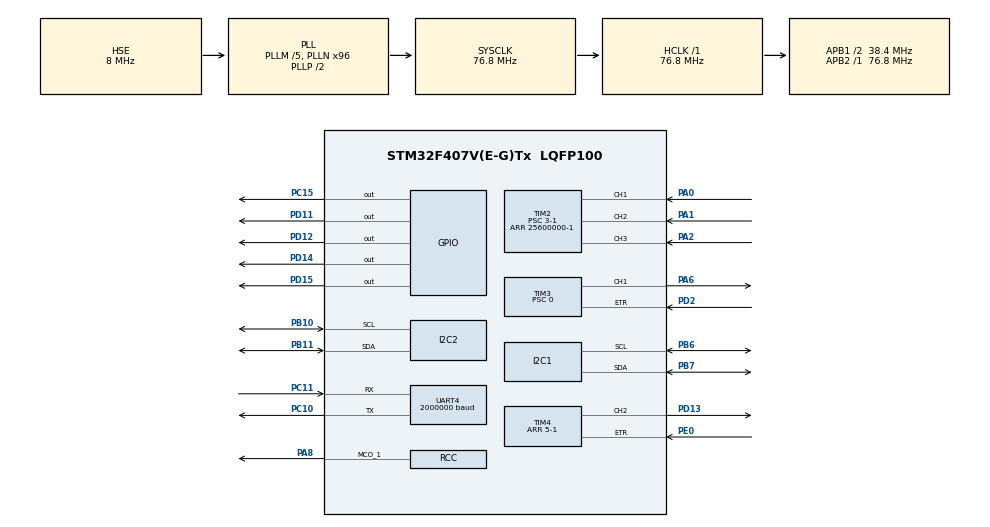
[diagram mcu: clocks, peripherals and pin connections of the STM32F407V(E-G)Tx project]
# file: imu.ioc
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Dma.I2C1_RX.0.Direction=DMA_PERIPH_TO_MEMORY
Dma.I2C1_RX.0.FIFOMode=DMA_FIFOMODE_DISABLE
Dma.I2C1_RX.0.Instance=DMA1_Stream5
Dma.I2C1_RX.0.MemDataAlignment=DMA_MDATAALIGN_BYTE
Dma.I2C1_RX.0.MemInc=DMA_MINC_ENABLE
Dma.I2C1_RX.0.Mode=DMA_NORMAL
Dma.I2C1_RX.0.PeriphDataAlignment=DMA_PDATAALIGN_BYTE
Dma.I2C1_RX.0.PeriphInc=DMA_PINC_DISABLE
Dma.I2C1_RX.0.Priority=DMA_PRIORITY_VERY_HIGH
Dma.I2C2_RX.3.Direction=DMA_PERIPH_TO_MEMORY
Dma.I2C2_RX.3.FIFOMode=DMA_FIFOMODE_DISABLE
Dma.I2C2_RX.3.Instance=DMA1_Stream3
Dma.I2C2_RX.3.MemDataAlignment=DMA_MDATAALIGN_BYTE
Dma.I2C2_RX.3.MemInc=DMA_MINC_ENABLE
Dma.I2C2_RX.3.Mode=DMA_NORMAL
Dma.I2C2_RX.3.PeriphDataAlignment=DMA_PDATAALIGN_BYTE
Dma.I2C2_RX.3.PeriphInc=DMA_PINC_DISABLE
Dma.I2C2_RX.3.Priority=DMA_PRIORITY_LOW
Dma.Request0=I2C1_RX
Dma.Request1=UART4_TX
Dma.Request2=UART4_RX
Dma.Request3=I2C2_RX
Dma.UART4_RX.2.Direction=DMA_PERIPH_TO_MEMORY
Dma.UART4_RX.2.FIFOMode=DMA_FIFOMODE_DISABLE
Dma.UART4_RX.2.Instance=DMA1_Stream2
Dma.UART4_RX.2.MemDataAlignment=DMA_MDATAALIGN_BYTE
Dma.UART4_RX.2.MemInc=DMA_MINC_ENABLE
Dma.UART4_RX.2.Mode=DMA_NORMAL
Dma.UART4_RX.2.PeriphDataAlignment=DMA_PDATAALIGN_BYTE
Dma.UART4_RX.2.PeriphInc=DMA_PINC_DISABLE
Dma.UART4_RX.2.Priority=DMA_PRIORITY_LOW
Dma.UART4_TX.1.Direction=DMA_MEMORY_TO_PERIPH
Dma.UART4_TX.1.FIFOMode=DMA_FIFOMODE_DISABLE
Dma.UART4_TX.1.Instance=DMA1_Stream4
Dma.UART4_TX.1.MemDataAlignment=DMA_MDATAALIGN_BYTE
Dma.UART4_TX.1.MemInc=DMA_MINC_ENABLE
Dma.UART4_TX.1.Mode=DMA_NORMAL
Dma.UART4_TX.1.PeriphDataAlignment=DMA_PDATAALIGN_BYTE
Dma.UART4_TX.1.PeriphInc=DMA_PINC_DISABLE
Dma.UART4_TX.1.Priority=DMA_PRIORITY_LOW
I2C1.DutyCycle=I2C_DUTYCYCLE_16_9
I2C1.I2C_Mode=I2C_Fast
I2C2.DutyCycle=I2C_DUTYCYCLE_16_9
I2C2.I2C_Mode=I2C_Fast
Mcu.Family=STM32F4
Mcu.Name=STM32F407V(E-G)Tx
Mcu.Package=LQFP100
NVIC.DMA1_Stream2_IRQn=true\:5\:0\:true\:false\:true\:false\:true
NVIC.DMA1_Stream3_IRQn=true\:0\:0\:false\:false\:true\:false\:true
NVIC.DMA1_Stream4_IRQn=true\:5\:0\:true\:false\:true\:false\:true
NVIC.DMA1_Stream5_IRQn=true\:5\:0\:true\:false\:true\:false\:true
NVIC.I2C1_EV_IRQn=true\:1\:0\:true\:false\:true\:true\:true
NVIC.PriorityGroup=NVIC_PRIORITYGROUP_4
NVIC.TIM2_IRQn=true\:0\:0\:false\:false\:true\:true\:true
NVIC.UART4_IRQn=true\:5\:0\:true\:false\:true\:true\:true
PA0-WKUP.GPIO_Speed=GPIO_SPEED_FREQ_VERY_HIGH
PA0-WKUP.Signal=S_TIM2_CH1_ETR
PA1.GPIO_Speed=GPIO_SPEED_FREQ_VERY_HIGH
PA1.Signal=S_TIM2_CH2
PA2.Signal=S_TIM2_CH3
PA6.Signal=S_TIM3_CH1
PA8.GPIO_Speed=GPIO_SPEED_FREQ_VERY_HIGH
PA8.Mode=Clock-out-1
PA8.Signal=RCC_MCO_1
PB10.Mode=I2C
PB10.Signal=I2C2_SCL
PB11.Mode=I2C
PB11.Signal=I2C2_SDA
PB6.Mode=I2C
PB6.Signal=I2C1_SCL
PB7.Mode=I2C
PB7.Signal=I2C1_SDA
PC10.Mode=Asynchronous
PC10.Signal=UART4_TX
PC11.Mode=Asynchronous
PC11.Signal=UART4_RX
PC15-OSC32_OUT.GPIO_PuPd=GPIO_NOPULL
PC15-OSC32_OUT.Signal=GPIO_Output
PD11.Signal=GPIO_Output
PD12.Signal=GPIO_Output
PD13.Signal=S_TIM4_CH2
PD14.Signal=GPIO_Output
PD15.PinState=GPIO_PIN_RESET
PD15.Signal=GPIO_Output
PD2.Signal=S_TIM3_ETR
PE0.Signal=S_TIM4_ETR
PH0-OSC_IN.Mode=HSE-External-Oscillator
PH0-OSC_IN.Signal=RCC_OSC_IN
PH1-OSC_OUT.Mode=HSE-External-Oscillator
PH1-OSC_OUT.Signal=RCC_OSC_OUT
ProjectManager.HeapSize=0x200
ProjectManager.StackSize=0x400
ProjectManager.TargetToolchain=STM32CubeIDE
RCC.48MHZClocksFreq_Value=30720000
RCC.AHBFreq_Value=76800000
RCC.APB1CLKDivider=RCC_HCLK_DIV2
RCC.APB1Freq_Value=38400000
RCC.APB1TimFreq_Value=76800000
RCC.APB2Freq_Value=76800000
RCC.APB2TimFreq_Value=76800000
RCC.CortexFreq_Value=76800000
RCC.HCLKFreq_Value=76800000
RCC.HSE_VALUE=8000000
RCC.HSI_VALUE=16000000
RCC.LSE_VALUE=32768
RCC.PLLM=5
RCC.PLLN=96
RCC.PLLQ=5
RCC.PLLSourceVirtual=RCC_PLLSOURCE_HSE
RCC.RCC_MCO1Source=RCC_MCO1SOURCE_PLLCLK
RCC.RCC_MCO2Source=RCC_MCO2SOURCE_HSE
RCC.RCC_MCODiv1=RCC_MCODIV_4
RCC.RCC_RTC_Clock_Source=RCC_RTCCLKSOURCE_HSE_DIV25
RCC.RCC_RTC_Clock_SourceVirtual=RCC_RTCCLKSOURCE_LSE
RCC.RCC_RTC_Clock_Source_FROM_HSE=RCC_RTCCLKSOURCE_HSE_DIV25
RCC.SYSCLKFreq_VALUE=76800000
RCC.SYSCLKSource=RCC_SYSCLKSOURCE_PLLCLK
RCC.VCOOutputFreq_Value=153600000
SH.S_TIM2_CH1_ETR.0=TIM2_CH1,Input_Capture1_from_TI1
SH.S_TIM2_CH2.0=TIM2_CH2,Input_Capture2_from_TI2
SH.S_TIM2_CH3.0=TIM2_CH3,Input_Capture3_from_TI3
SH.S_TIM3_CH1.0=TIM3_CH1,PWM Generation1 CH1
SH.S_TIM3_ETR.0=TIM3_ETR,TriggerSource_ETR
SH.S_TIM4_CH2.0=TIM4_CH2,PWM Generation2 CH2
SH.S_TIM4_ETR.0=TIM4_ETR,TriggerSource_ETR
TIM2.Channel-Input_Capture1_from_TI1=TIM_CHANNEL_1
TIM2.Channel-Input_Capture2_from_TI2=TIM_CHANNEL_2
TIM2.Channel-Input_Capture3_from_TI3=TIM_CHANNEL_3
TIM2.Period=25600000-1
TIM2.Prescaler=3-1
TIM2.TIM_MasterOutputTrigger=TIM_TRGO_UPDATE
TIM3.Channel-PWM\ Generation1\ CH1=TIM_CHANNEL_1
TIM3.Period=100-1
TIM3.Prescaler=0
TIM3.Pulse-PWM\ Generation1\ CH1=1
TIM4.Channel-PWM\ Generation2\ CH2=TIM_CHANNEL_2
TIM4.Period=5-1
TIM4.Pulse-PWM\ Generation2\ CH2=1
UART4.BaudRate=2000000
UART4.VirtualMode=Asynchronous
VP_TIM2_VS_ClockSourceINT.Mode=Internal
VP_TIM3_VS_ControllerModeClock.Mode=Clock Mode
VP_TIM4_VS_ControllerModeClock.Mode=Clock Mode
board=custom

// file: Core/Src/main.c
/* USER CODE BEGIN Header */
/**
  ******************************************************************************
  * @file           : main.c
  * @brief          : Main program body
  ******************************************************************************
  * @attention
  *
  * <h2><center>&copy; Copyright (c) 2019 STMicroelectronics.
  * All rights reserved.</center></h2>
  *
  * This software component is licensed by ST under BSD 3-Clause license,
  * the "License"; You may not use this file except in compliance with the
  * License. You may obtain a copy of the License at:
  *                        opensource.org/licenses/BSD-3-Clause
  *
  ******************************************************************************
  */
/* USER CODE END Header */

#include "main.h"

/* USER CODE BEGIN PD */
#define N_IMU_CHARS 78
#define N_CAMERAS_CHARS 18
#define N_MOCAP_CHARS 18
#define N_CHARS (N_IMU_CHARS + N_CAMERAS_CHARS + N_MOCAP_CHARS)

#define N_BYTES 16

//#define ALIGN_SUBS_INTERVAL 2560000 // = 1/6 * htim2.Init.Period

#define INPUT_PC_DATA_LENGTH 5
#define ALIGN_FRAMES_CMD 34
#define START_TRIGGER_CMD 56
#define STOP_TRIGGER_CMD 57

#define THRES 126
/* USER CODE END PD */

I2C_HandleTypeDef hi2c1;
I2C_HandleTypeDef hi2c2;
DMA_HandleTypeDef hdma_i2c1_rx;
DMA_HandleTypeDef hdma_i2c2_rx;

TIM_HandleTypeDef htim2;
TIM_HandleTypeDef htim3;
TIM_HandleTypeDef htim4;

UART_HandleTypeDef huart4;
DMA_HandleTypeDef hdma_uart4_tx;
DMA_HandleTypeDef hdma_uart4_rx;

/* USER CODE BEGIN PV */
uint8_t str[N_CHARS];

uint16_t count = 0;
uint8_t flag_read_imu_values = 0;
uint8_t flag_transmit_to_lidar = 0;

uint8_t flag_cameras_ts_ready = 0;
uint8_t flag_mocap_ts_ready = 0;
uint8_t buf_flag_cameras_ts_ready = 0;
uint8_t buf_flag_mocap_ts_ready = 0;

uint8_t flag_alignment_received = 0;

uint8_t dat[N_BYTES];
uint8_t dat_[N_BYTES];
uint8_t dat_buf[N_BYTES];

uint8_t soft_rtc_h = 0;
uint8_t soft_rtc_m = 0;
uint8_t soft_rtc_s = 0;
uint32_t soft_rtc_subs = 0;

uint8_t soft_rtc_imu_h = 0;
uint8_t soft_rtc_imu_m = 0;
uint8_t soft_rtc_imu_s = 0;
uint32_t soft_rtc_imu_subs = 0;

uint8_t soft_rtc_cameras_h = 0;
uint8_t soft_rtc_cameras_m = 0;
uint8_t soft_rtc_cameras_s = 0;
uint32_t soft_rtc_cameras_subs = 0;

uint8_t soft_rtc_mocap_h = 0;
uint8_t soft_rtc_mocap_m = 0;
uint8_t soft_rtc_mocap_s = 0;
uint32_t soft_rtc_mocap_subs = 0;

int32_t alignment_subs_signed = 0;
uint32_t alignment_subs_low = 0;
uint32_t alignment_subs_high = 0;
uint32_t alignment_subs_received = 0;
uint32_t tim2_counter_per = 0;

uint8_t input_buf[INPUT_PC_DATA_LENGTH];
uint8_t flag_data_received_from_pc;

typedef struct {
  uint8_t cmd;
  uint32_t data;
} received_tuple;

uint8_t flag_pause_triggering = 1;
/* USER CODE END PV */

void SystemClock_Config(void);
static void MX_GPIO_Init(void);
static void MX_DMA_Init(void);
static void MX_I2C1_Init(void);
static void MX_UART4_Init(void);
static void MX_I2C2_Init(void);
static void MX_TIM2_Init(void);
static void MX_TIM4_Init(void);
static void MX_TIM3_Init(void);

/* USER CODE BEGIN 0 */
/*int __io_putchar(int ch) {
  uint8_t c[1];
  c[0] = ch & 0x00FF;
  HAL_UART_Transmit(&huart4, &*c, 1, 10);
  return ch;
}
int _write(int file,char *ptr, int len) {
  int DataIdx;
  for(DataIdx= 0; DataIdx< len; DataIdx++) {
    __io_putchar(*ptr++);
  }
  return len;
}*/

//uint32_t read_TIM5() {
//  return TIM5->CNT;
//}

//void HAL_GPIO_EXTI_Callback(uint16_t GPIO_Pin) {
  //HAL_GPIO_WritePin(GPIOC, GPIO_PIN_8, GPIO_PIN_SET);
  /*if(GPIO_Pin == GPIO_PIN_9)
  {
    flag_read_imu_values = 1;
    soft_rtc_imu_subs = read_TIM5();
    soft_rtc_imu_s = soft_rtc_s;
    soft_rtc_imu_m = soft_rtc_m;
    HAL_GPIO_TogglePin(GPIOD, GPIO_PIN_12);
  }*/
//}

void setup_mpu(void) {
  uint8_t dat[] = {   5, 16,  1,  1,  8,  8};
  uint8_t adds[] = {107, 55, 26, 56, 27, 28};
  uint8_t n_of_bytes = sizeof(dat) / sizeof(dat[0]);
  for (uint8_t idx=0; idx<n_of_bytes; idx++) {
    HAL_I2C_Mem_Write(&hi2c1, 0x68<<1, adds[idx], 1, &dat[idx], 1, 1000);
  }
}

void make_message(void) {
  sprintf(str,
    "i0"                                        //2
    "%02x %02x %04x %04x "                      //16
    "%04x %04x %04x %04x %04x %04x %04x "       //35
    "%04x %04x %04x %04x "                      //20
    "%04x"                                      //4
    "\n",                                       //1
                                                //=78
    (uint8_t)soft_rtc_imu_m,
    (uint8_t)soft_rtc_imu_s,
    (uint16_t)(soft_rtc_imu_subs>>16),
    (uint16_t)(soft_rtc_imu_subs),

    (uint16_t)(dat_buf[0]<<8 | dat_buf[1]),
    (uint16_t)(dat_buf[2]<<8 | dat_buf[3]),
    (uint16_t)(dat_buf[4]<<8 | dat_buf[5]),
    (uint16_t)(dat_buf[6]<<8 | dat_buf[7]),
    (uint16_t)(dat_buf[8]<<8 | dat_buf[9]),
    (uint16_t)(dat_buf[10]<<8 | dat_buf[11]),
    (uint16_t)(dat_buf[12]<<8 | dat_buf[13]),

    (uint16_t)(dat_[1]<<8 | dat_[0]),
    (uint16_t)(dat_[3]<<8 | dat_[2]),
    (uint16_t)(dat_[5]<<8 | dat_[4]),
    (uint16_t)(dat_[7]<<8 | dat_[6]),

    count
  );
  if (buf_flag_cameras_ts_ready == 1) {
    sprintf(str + N_IMU_CHARS,
      "c0"                                        //2
      "%02x %02x %04x %04x"                       //15
      "\n",                                       //1
                                                  //=18
      (uint8_t)soft_rtc_cameras_m,
      (uint8_t)soft_rtc_cameras_s,
      (uint16_t)(soft_rtc_cameras_subs>>16),
      (uint16_t)(soft_rtc_cameras_subs)
    );
  }
  if (buf_flag_mocap_ts_ready == 1) {
    sprintf(str + N_IMU_CHARS + buf_flag_cameras_ts_ready * N_CAMERAS_CHARS,
      "m0"                                        //2
      "%02x %02x %04x %04x"                       //15
      "\n",                                       //1
                                                  //=18
      (uint8_t)soft_rtc_mocap_m,
      (uint8_t)soft_rtc_mocap_s,
      (uint16_t)(soft_rtc_mocap_subs>>16),
      (uint16_t)(soft_rtc_mocap_subs)
    );
  }
}

void delay(uint16_t n) {
  for (uint16_t i=0; i<n; i++) {
    ;
  }
}

void cp() {
  for (uint8_t i=0; i<N_BYTES; i++) {
    dat_buf[i] = dat[i];
  }
}

void HAL_TIM_PeriodElapsedCallback(TIM_HandleTypeDef *htim) {
  if (htim->Instance == htim2.Instance) {
    soft_rtc_s ++;
    if (soft_rtc_s == 60) {
      soft_rtc_s = 0;
      soft_rtc_m ++;
      if (soft_rtc_m == 60) {
        soft_rtc_m = 0;
        soft_rtc_h ++;
        if (soft_rtc_h == 24) {
          soft_rtc_h = 0;
        }
      }
    }
  }
}
  /*else if (htim->Instance == htim1.Instance)
  {
    if(HAL_GPIO_ReadPin(GPIOE, GPIO_PIN_9)==GPIO_PIN_SET) { // if timer output is HIGH

      soft_rtc_lidar_subs = read_TIM5();
      soft_rtc_lidar_s = soft_rtc_s;
      soft_rtc_lidar_m = soft_rtc_m;
      //HAL_RTC_GetTime(&hrtc, &sTime_lidar, RTC_FORMAT_BIN);
      //HAL_RTC_GetDate(&hrtc, &sDate_lidar, RTC_FORMAT_BIN);
      flag_lidar_ts_ready = 1;
      flag_transmit_to_lidar = 1;
      //HAL_GPIO_WritePin(GPIOD, GPIO_PIN_14, GPIO_PIN_SET);
      //HAL_GPIO_WritePin(GPIOD, GPIO_PIN_14, GPIO_PIN_RESET);
    }
  }
  else if (htim->Instance == htim2.Instance)
  {
    if(HAL_GPIO_ReadPin(GPIOA, GPIO_PIN_5)==GPIO_PIN_RESET) { // if timer output is HIGH // is not needed

      soft_rtc_cameras_subs = read_TIM5();
      soft_rtc_cameras_s = soft_rtc_s;
      soft_rtc_cameras_m = soft_rtc_m;

      //HAL_RTC_GetTime(&hrtc, &sTime_cam, RTC_FORMAT_BIN);
      //HAL_RTC_GetDate(&hrtc, &sDate_cam, RTC_FORMAT_BIN);
      flag_cameras_ts_ready = 1;
      //HAL_GPIO_WritePin(GPIOD, GPIO_PIN_13, GPIO_PIN_SET);
      //HAL_GPIO_WritePin(GPIOD, GPIO_PIN_13, GPIO_PIN_RESET);
    }
  }*/
//}

void HAL_UART_RxCpltCallback(UART_HandleTypeDef *huart) {
    if (huart->Instance == UART4) {
      //HAL_GPIO_WritePin(GPIOD, GPIO_PIN_13, SET);
      //flag_alignment_received = 1;
      flag_data_received_from_pc = 1;
    }
}

void HAL_TIM_IC_CaptureCallback(TIM_HandleTypeDef *htim)
{
  if (htim->Instance == htim2.Instance) {
    if (htim->Channel == HAL_TIM_ACTIVE_CHANNEL_1) {
      soft_rtc_imu_s = soft_rtc_s;
      soft_rtc_imu_m = soft_rtc_m;
      soft_rtc_imu_subs = HAL_TIM_ReadCapturedValue(htim, TIM_CHANNEL_1);
      flag_read_imu_values = 1;
      //HAL_GPIO_TogglePin(GPIOD, GPIO_PIN_12);
    }
    if (htim->Channel == HAL_TIM_ACTIVE_CHANNEL_2) {
      soft_rtc_cameras_s = soft_rtc_s;
      soft_rtc_cameras_m = soft_rtc_m;
      soft_rtc_cameras_subs = HAL_TIM_ReadCapturedValue(htim, TIM_CHANNEL_2);
      flag_cameras_ts_ready = 1;
      //HAL_GPIO_TogglePin(GPIOD, GPIO_PIN_12);
    }
    if (htim->Channel == HAL_TIM_ACTIVE_CHANNEL_3) {
      soft_rtc_mocap_s = soft_rtc_s;
      soft_rtc_mocap_m = soft_rtc_m;
      soft_rtc_mocap_subs = HAL_TIM_ReadCapturedValue(htim, TIM_CHANNEL_3);
      flag_mocap_ts_ready = 1;
      //HAL_GPIO_TogglePin(GPIOD, GPIO_PIN_12);
    }
  }
}

void receive_from_pc(void) {
  HAL_UART_Receive_DMA(&huart4, input_buf, INPUT_PC_DATA_LENGTH);
}

received_tuple parse_data(void) {
  received_tuple received;
  received.cmd = input_buf[0];
  received.data = (uint32_t)(input_buf[1] | input_buf[2] << 8 | input_buf[3] << 16 | input_buf[4] << 24);
  return received;
}

/*void align_timer(void) {
  alignment_subs_signed -= (int32_t)alignment_subs_received; // must not overfill uint32_t
  while (alignment_subs_signed < (int32_t)alignment_subs_low) {
    alignment_subs_signed += ALIGN_SUBS_INTERVAL;
  }
  TIM2->CCR1 = (uint32_t)alignment_subs_signed;
}*/
/*void align_timer(void) {
  alignment_subs_signed -= (int32_t)alignment_subs_received; // must not overfill uint32_t
  while (alignment_subs_signed < 0) {
    alignment_subs_signed += (htim2.Init.Period + 1);
  }
  TIM2->CCR1 = (uint32_t)alignment_subs_signed;
}*/
/* USER CODE END 0 */

int main(void)
{

  /* MCU Configuration--------------------------------------------------------*/

  /* Reset of all peripherals, Initializes the Flash interface and the Systick. */
  HAL_Init();

  /* Configure the system clock */
  SystemClock_Config();

  /* USER CODE BEGIN SysInit */
  HAL_Delay(1000);
  /* USER CODE END SysInit */

  /* Initialize all configured peripherals */
  MX_GPIO_Init();
  MX_DMA_Init();
  MX_I2C1_Init();
  MX_UART4_Init();
  MX_I2C2_Init();
  MX_TIM2_Init();
  MX_TIM4_Init();
  MX_TIM3_Init();
  /* USER CODE BEGIN 2 */

  //HAL_NVIC_DisableIRQ(EXTI9_5_IRQn);
  //HAL_GPIO_WritePin(GPIOC, GPIO_PIN_15, RESET);
  //HAL_Delay(1000);
  //HAL_GPIO_WritePin(GPIOC, GPIO_PIN_15, SET);
  //HAL_Delay(1000);
  setup_mpu();
  //HAL_NVIC_EnableIRQ(EXTI9_5_IRQn);

  //HAL_TIM_OC_Start_IT(&htim5, TIM_CHANNEL_1);
  //delay(10);
  //HAL_TIM_OC_Start(&htim3, TIM_CHANNEL_1);
  //delay(10);
  //delay(10);
  //HAL_TIM_OC_Start_IT(&htim1, TIM_CHANNEL_1);
  //HAL_TIM_IC_Start(&htim3, TIM_CHANNEL_1);
  //HAL_TIM_OC_Start(&htim3, TIM_CHANNEL_2);
  //HAL_TIM_PWM_Start(&htim3, TIM_CHANNEL_1);
  //HAL_TIM_PWM_Start(&htim4, TIM_CHANNEL_2);
  HAL_TIM_Base_Start_IT(&htim2);
  HAL_TIM_IC_Start_IT(&htim2, TIM_CHANNEL_1);
  HAL_TIM_IC_Start_IT(&htim2, TIM_CHANNEL_2);
  HAL_TIM_IC_Start_IT(&htim2, TIM_CHANNEL_3);

  //Update_event = TIM_CLK/((PSC + 1)*(ARR + 1)*(RCR + 1))
  //TIM_CLK = timer clock input
  //PSC = 16-bit prescaler register
  //ARR = 16/32-bit Autoreload register
  //RCR = 16-bit repetition counter

  //76.8 / ((0 + 1) * (1 + 1)) / 2 = 19.2 MHz TIM3 IMU
  //76.8 * 1000000 / ((7680 - 1 + 1) * (1000 - 1 + 1)) / 2 = 5 Hz TIM2 CAMERAS
  //76.8 * 1000000 / ((7680 - 1 + 1) * (5000 - 1 + 1)) / 2 = 1 Hz TIM1 LIDAR
  //76.8 * 1000000 / ((3 - 1 + 1) * (25600000 - 1 + 1)) = 1 Hz TIM5

/*
• General-purpose timers (32 bit: TIM2, TIM5; 16 bit: TIM3, TIM4) can be used by any application for: output comparison
(timing and delay generation), one-pulse mode, input capture (for external signal
frequency measurement), sensor interface (encoder, hall sensor);

• Advanced timers (TIM1, TIM8): these timers have the most features. In addition to general purpose
functions, they include several features related to motor control and digital power
conversion applications: three complementary signals with deadtime insertion and
emergency shut-down input;

• One (TIM10, TIM11, TIM13, TIM14) or two channel (TIM9, TIM12) timers: used as general-purpose timers with a limited number of
channels.

• One or two channel timers with complementary output (-): same as the previous timer
type with an additional deadtime generator on one channel. In some situations, this
feature allows a general purpose timer to be used where an additional advanced timer
would be necessary.

• Basic timers (TIM6, TIM7) are used either as timebase timers or for triggering the DAC peripheral
These timers don’t have any input/output capabilities;

• Low-power timers (-) are simple general purpose timers and are able to operate in low-
power modes.They are used to generate a wake-up event for example;

• High-resolution timers (-) are specialized timer peripherals designed to drive power
conversion in lighting and power source applications. They can also be used in other
fields that require very fine timing resolution.
*/

/*----------|  |------------
|                          |
|                          |
|                          |
|                          |
|::                      ::|
|::                      ::|
|::                      ::|
|::                      ::|
|::                      ::|
|::                      ::|
|::                      ::|
|::      [D13 ORNG]      ::|
|:: [D12 GRN]  [D14 RED] ::|
|::      [D15 BLUE]      ::|
|::                      ::|
|::                      ::|
|::             [D5 USB] ::|
--------------------------*/
  //receive_alignment();
  receive_from_pc();
  dat_[0] = 0b10000010;
  HAL_I2C_Mem_Write(&hi2c2, 0b0011100<<1, 0x20, 1, dat_, 1, 1000);
  dat_[0] = 0b00001100;
  HAL_I2C_Mem_Write(&hi2c2, 0b0011100<<1, 0x23, 1, dat_, 1, 1000);
  dat_[0] = 0;
  HAL_I2C_Mem_Write(&hi2c2, 0b0011100<<1, 0x22, 1, dat_, 1, 1000);
  /* USER CODE END 2 */

  /* Infinite loop */
  /* USER CODE BEGIN WHILE */
  while (1)
  {
    //HAL_GPIO_WritePin(GPIOD, GPIO_PIN_13, HAL_GPIO_ReadPin(GPIOA, GPIO_PIN_5)); // forward timer output signal to led pin
    //HAL_GPIO_WritePin(GPIOD, GPIO_PIN_14, HAL_GPIO_ReadPin(GPIOE, GPIO_PIN_9)); // forward timer output signal to led pin
    HAL_GPIO_WritePin(GPIOD, GPIO_PIN_15, HAL_GPIO_ReadPin(GPIOA, GPIO_PIN_1)); // forward timer output signal to led pin
    if (flag_read_imu_values == 1) {
      //HAL_NVIC_DisableIRQ(EXTI9_5_IRQn);
      flag_read_imu_values = 0;
      buf_flag_cameras_ts_ready = flag_cameras_ts_ready;
      buf_flag_mocap_ts_ready = flag_mocap_ts_ready;
      if (buf_flag_cameras_ts_ready == 1) {
              flag_cameras_ts_ready = 0;
      }
      if (buf_flag_mocap_ts_ready == 1) {
              flag_mocap_ts_ready = 0;
      }
      //HAL_GPIO_WritePin(GPIOD, GPIO_PIN_14, GPIO_PIN_SET);
      count++;
      cp();
      HAL_I2C_Mem_Read_DMA(&hi2c1, 0x68<<1, 59, 1, dat, 14);
      HAL_I2C_Mem_Read_DMA(&hi2c2, 0b0011100<<1, 0x28, 1, dat_, 8);
      if (abs((int8_t)dat[0])>THRES || abs((int8_t)dat[2])>THRES || abs((int8_t)dat[4])>THRES ||
          abs((int8_t)dat[8])>THRES || abs((int8_t)dat[10])>THRES || abs((int8_t)dat[12])>THRES) {
        //HAL_GPIO_WritePin(GPIOD, GPIO_PIN_13, GPIO_PIN_SET);
        HAL_GPIO_WritePin(GPIOD, GPIO_PIN_14, GPIO_PIN_SET);
        HAL_GPIO_WritePin(GPIOD, GPIO_PIN_11, GPIO_PIN_RESET);
      }
      else {
        //HAL_GPIO_WritePin(GPIOD, GPIO_PIN_13, GPIO_PIN_RESET);
        HAL_GPIO_WritePin(GPIOD, GPIO_PIN_14, GPIO_PIN_RESET);
        HAL_GPIO_WritePin(GPIOD, GPIO_PIN_11, GPIO_PIN_SET);
      }

      uint8_t mes_length = N_IMU_CHARS + buf_flag_cameras_ts_ready * N_CAMERAS_CHARS + buf_flag_mocap_ts_ready * N_MOCAP_CHARS;
      make_message();
      HAL_UART_Transmit_DMA(&huart4, str, mes_length);//, 1000);  //HAL_UART_Transmit_DMA(&huart4, str, N_CHARS);

      //if(__HAL_GPIO_EXTI_GET_IT(GPIO_PIN_9) != RESET) {__HAL_GPIO_EXTI_CLEAR_IT(GPIO_PIN_9);}
      //HAL_NVIC_EnableIRQ(EXTI9_5_IRQn);

      if (flag_data_received_from_pc == 1) {
        received_tuple received = parse_data();
        if (received.cmd == START_TRIGGER_CMD) {
          HAL_TIM_PWM_Start(&htim3, TIM_CHANNEL_1);
          HAL_TIM_PWM_Start(&htim4, TIM_CHANNEL_2);
        }
        /*else if (received.cmd == ALIGN_FRAMES_CMD) {
          alignment_subs_received = received.data;
          align_timer();
          HAL_GPIO_TogglePin(GPIOD, GPIO_PIN_15);
        }*/
        else if (received.cmd == STOP_TRIGGER_CMD) {
          HAL_TIM_PWM_Stop(&htim3, TIM_CHANNEL_1);
          HAL_TIM_PWM_Stop(&htim4, TIM_CHANNEL_2);
        }
        flag_data_received_from_pc = 0;
        receive_from_pc();
      }
      //HAL_GPIO_WritePin(GPIOD, GPIO_PIN_14, GPIO_PIN_SET);
      if(count & 1024) { HAL_GPIO_TogglePin(GPIOD, GPIO_PIN_12);}
      /*if (flag_pause_triggering == 1) {
        if (count == 5000) {
          HAL_TIM_PWM_Stop(&htim3, TIM_CHANNEL_1);
          HAL_TIM_PWM_Stop(&htim4, TIM_CHANNEL_2);
        }
        if (count == 11000) {
          HAL_TIM_PWM_Start(&htim3, TIM_CHANNEL_1);
          HAL_TIM_PWM_Start(&htim4, TIM_CHANNEL_2);
          flag_pause_triggering = 0;
        }
      }*/

    }
    /* USER CODE END WHILE */

  }
}

void SystemClock_Config(void)
{
  RCC_OscInitTypeDef RCC_OscInitStruct = {0};
  RCC_ClkInitTypeDef RCC_ClkInitStruct = {0};

  /** Configure the main internal regulator output voltage
  */
  __HAL_RCC_PWR_CLK_ENABLE();
  __HAL_PWR_VOLTAGESCALING_CONFIG(PWR_REGULATOR_VOLTAGE_SCALE1);
  /** Initializes the CPU, AHB and APB busses clocks
  */
  RCC_OscInitStruct.OscillatorType = RCC_OSCILLATORTYPE_HSE;
  RCC_OscInitStruct.HSEState = RCC_HSE_ON;
  RCC_OscInitStruct.PLL.PLLState = RCC_PLL_ON;
  RCC_OscInitStruct.PLL.PLLSource = RCC_PLLSOURCE_HSE;
  RCC_OscInitStruct.PLL.PLLM = 5;
  RCC_OscInitStruct.PLL.PLLN = 96;
  RCC_OscInitStruct.PLL.PLLP = RCC_PLLP_DIV2;
  RCC_OscInitStruct.PLL.PLLQ = 5;
  if (HAL_RCC_OscConfig(&RCC_OscInitStruct) != HAL_OK)
  {
    Error_Handler();
  }
  /** Initializes the CPU, AHB and APB busses clocks
  */
  RCC_ClkInitStruct.ClockType = RCC_CLOCKTYPE_HCLK|RCC_CLOCKTYPE_SYSCLK
                              |RCC_CLOCKTYPE_PCLK1|RCC_CLOCKTYPE_PCLK2;
  RCC_ClkInitStruct.SYSCLKSource = RCC_SYSCLKSOURCE_PLLCLK;
  RCC_ClkInitStruct.AHBCLKDivider = RCC_SYSCLK_DIV1;
  RCC_ClkInitStruct.APB1CLKDivider = RCC_HCLK_DIV2;
  RCC_ClkInitStruct.APB2CLKDivider = RCC_HCLK_DIV1;

  if (HAL_RCC_ClockConfig(&RCC_ClkInitStruct, FLASH_LATENCY_2) != HAL_OK)
  {
    Error_Handler();
  }
  HAL_RCC_MCOConfig(RCC_MCO1, RCC_MCO1SOURCE_PLLCLK, RCC_MCODIV_4);
}

static void MX_I2C1_Init(void)
{

  hi2c1.Instance = I2C1;
  hi2c1.Init.ClockSpeed = 400000;
  hi2c1.Init.DutyCycle = I2C_DUTYCYCLE_16_9;
  hi2c1.Init.OwnAddress1 = 0;
  hi2c1.Init.AddressingMode = I2C_ADDRESSINGMODE_7BIT;
  hi2c1.Init.DualAddressMode = I2C_DUALADDRESS_DISABLE;
  hi2c1.Init.OwnAddress2 = 0;
  hi2c1.Init.GeneralCallMode = I2C_GENERALCALL_DISABLE;
  hi2c1.Init.NoStretchMode = I2C_NOSTRETCH_DISABLE;
  if (HAL_I2C_Init(&hi2c1) != HAL_OK)
  {
    Error_Handler();
  }

}

static void MX_I2C2_Init(void)
{

  hi2c2.Instance = I2C2;
  hi2c2.Init.ClockSpeed = 400000;
  hi2c2.Init.DutyCycle = I2C_DUTYCYCLE_16_9;
  hi2c2.Init.OwnAddress1 = 0;
  hi2c2.Init.AddressingMode = I2C_ADDRESSINGMODE_7BIT;
  hi2c2.Init.DualAddressMode = I2C_DUALADDRESS_DISABLE;
  hi2c2.Init.OwnAddress2 = 0;
  hi2c2.Init.GeneralCallMode = I2C_GENERALCALL_DISABLE;
  hi2c2.Init.NoStretchMode = I2C_NOSTRETCH_DISABLE;
  if (HAL_I2C_Init(&hi2c2) != HAL_OK)
  {
    Error_Handler();
  }

}

static void MX_TIM2_Init(void)
{

  TIM_ClockConfigTypeDef sClockSourceConfig = {0};
  TIM_MasterConfigTypeDef sMasterConfig = {0};
  TIM_IC_InitTypeDef sConfigIC = {0};

  htim2.Instance = TIM2;
  htim2.Init.Prescaler = 3-1;
  htim2.Init.CounterMode = TIM_COUNTERMODE_UP;
  htim2.Init.Period = 25600000-1;
  htim2.Init.ClockDivision = TIM_CLOCKDIVISION_DIV1;
  htim2.Init.AutoReloadPreload = TIM_AUTORELOAD_PRELOAD_DISABLE;
  if (HAL_TIM_Base_Init(&htim2) != HAL_OK)
  {
    Error_Handler();
  }
  sClockSourceConfig.ClockSource = TIM_CLOCKSOURCE_INTERNAL;
  if (HAL_TIM_ConfigClockSource(&htim2, &sClockSourceConfig) != HAL_OK)
  {
    Error_Handler();
  }
  if (HAL_TIM_IC_Init(&htim2) != HAL_OK)
  {
    Error_Handler();
  }
  sMasterConfig.MasterOutputTrigger = TIM_TRGO_UPDATE;
  sMasterConfig.MasterSlaveMode = TIM_MASTERSLAVEMODE_DISABLE;
  if (HAL_TIMEx_MasterConfigSynchronization(&htim2, &sMasterConfig) != HAL_OK)
  {
    Error_Handler();
  }
  sConfigIC.ICPolarity = TIM_INPUTCHANNELPOLARITY_RISING;
  sConfigIC.ICSelection = TIM_ICSELECTION_DIRECTTI;
  sConfigIC.ICPrescaler = TIM_ICPSC_DIV1;
  sConfigIC.ICFilter = 0;
  if (HAL_TIM_IC_ConfigChannel(&htim2, &sConfigIC, TIM_CHANNEL_1) != HAL_OK)
  {
    Error_Handler();
  }
  if (HAL_TIM_IC_ConfigChannel(&htim2, &sConfigIC, TIM_CHANNEL_2) != HAL_OK)
  {
    Error_Handler();
  }
  if (HAL_TIM_IC_ConfigChannel(&htim2, &sConfigIC, TIM_CHANNEL_3) != HAL_OK)
  {
    Error_Handler();
  }

}

static void MX_TIM3_Init(void)
{

  TIM_SlaveConfigTypeDef sSlaveConfig = {0};
  TIM_MasterConfigTypeDef sMasterConfig = {0};
  TIM_OC_InitTypeDef sConfigOC = {0};

  htim3.Instance = TIM3;
  htim3.Init.Prescaler = 0;
  htim3.Init.CounterMode = TIM_COUNTERMODE_UP;
  htim3.Init.Period = 100-1;
  htim3.Init.ClockDivision = TIM_CLOCKDIVISION_DIV1;
  htim3.Init.AutoReloadPreload = TIM_AUTORELOAD_PRELOAD_DISABLE;
  if (HAL_TIM_Base_Init(&htim3) != HAL_OK)
  {
    Error_Handler();
  }
  if (HAL_TIM_PWM_Init(&htim3) != HAL_OK)
  {
    Error_Handler();
  }
  sSlaveConfig.SlaveMode = TIM_SLAVEMODE_EXTERNAL1;
  sSlaveConfig.InputTrigger = TIM_TS_ETRF;
  sSlaveConfig.TriggerPolarity = TIM_TRIGGERPOLARITY_NONINVERTED;
  sSlaveConfig.TriggerPrescaler = TIM_TRIGGERPRESCALER_DIV1;
  sSlaveConfig.TriggerFilter = 0;
  if (HAL_TIM_SlaveConfigSynchro(&htim3, &sSlaveConfig) != HAL_OK)
  {
    Error_Handler();
  }
  sMasterConfig.MasterOutputTrigger = TIM_TRGO_RESET;
  sMasterConfig.MasterSlaveMode = TIM_MASTERSLAVEMODE_DISABLE;
  if (HAL_TIMEx_MasterConfigSynchronization(&htim3, &sMasterConfig) != HAL_OK)
  {
    Error_Handler();
  }
  sConfigOC.OCMode = TIM_OCMODE_PWM1;
  sConfigOC.Pulse = 1;
  sConfigOC.OCPolarity = TIM_OCPOLARITY_HIGH;
  sConfigOC.OCFastMode = TIM_OCFAST_DISABLE;
  if (HAL_TIM_PWM_ConfigChannel(&htim3, &sConfigOC, TIM_CHANNEL_1) != HAL_OK)
  {
    Error_Handler();
  }
  HAL_TIM_MspPostInit(&htim3);

}

static void MX_TIM4_Init(void)
{

  TIM_SlaveConfigTypeDef sSlaveConfig = {0};
  TIM_MasterConfigTypeDef sMasterConfig = {0};
  TIM_OC_InitTypeDef sConfigOC = {0};

  htim4.Instance = TIM4;
  htim4.Init.Prescaler = 0;
  htim4.Init.CounterMode = TIM_COUNTERMODE_UP;
  htim4.Init.Period = 5-1;
  htim4.Init.ClockDivision = TIM_CLOCKDIVISION_DIV1;
  htim4.Init.AutoReloadPreload = TIM_AUTORELOAD_PRELOAD_DISABLE;
  if (HAL_TIM_Base_Init(&htim4) != HAL_OK)
  {
    Error_Handler();
  }
  if (HAL_TIM_PWM_Init(&htim4) != HAL_OK)
  {
    Error_Handler();
  }
  sSlaveConfig.SlaveMode = TIM_SLAVEMODE_EXTERNAL1;
  sSlaveConfig.InputTrigger = TIM_TS_ETRF;
  sSlaveConfig.TriggerPolarity = TIM_TRIGGERPOLARITY_NONINVERTED;
  sSlaveConfig.TriggerPrescaler = TIM_TRIGGERPRESCALER_DIV1;
  sSlaveConfig.TriggerFilter = 0;
  if (HAL_TIM_SlaveConfigSynchro(&htim4, &sSlaveConfig) != HAL_OK)
  {
    Error_Handler();
  }
  sMasterConfig.MasterOutputTrigger = TIM_TRGO_RESET;
  sMasterConfig.MasterSlaveMode = TIM_MASTERSLAVEMODE_DISABLE;
  if (HAL_TIMEx_MasterConfigSynchronization(&htim4, &sMasterConfig) != HAL_OK)
  {
    Error_Handler();
  }
  sConfigOC.OCMode = TIM_OCMODE_PWM1;
  sConfigOC.Pulse = 1;
  sConfigOC.OCPolarity = TIM_OCPOLARITY_HIGH;
  sConfigOC.OCFastMode = TIM_OCFAST_DISABLE;
  if (HAL_TIM_PWM_ConfigChannel(&htim4, &sConfigOC, TIM_CHANNEL_2) != HAL_OK)
  {
    Error_Handler();
  }
  HAL_TIM_MspPostInit(&htim4);

}

static void MX_UART4_Init(void)
{

  huart4.Instance = UART4;
  huart4.Init.BaudRate = 2000000;
  huart4.Init.WordLength = UART_WORDLENGTH_8B;
  huart4.Init.StopBits = UART_STOPBITS_1;
  huart4.Init.Parity = UART_PARITY_NONE;
  huart4.Init.Mode = UART_MODE_TX_RX;
  huart4.Init.HwFlowCtl = UART_HWCONTROL_NONE;
  huart4.Init.OverSampling = UART_OVERSAMPLING_16;
  if (HAL_UART_Init(&huart4) != HAL_OK)
  {
    Error_Handler();
  }

}

static void MX_DMA_Init(void)
{

  /* DMA controller clock enable */
  __HAL_RCC_DMA1_CLK_ENABLE();

  /* DMA interrupt init */
  /* DMA1_Stream2_IRQn interrupt configuration */
  HAL_NVIC_SetPriority(DMA1_Stream2_IRQn, 5, 0);
  HAL_NVIC_EnableIRQ(DMA1_Stream2_IRQn);
  /* DMA1_Stream3_IRQn interrupt configuration */
  HAL_NVIC_SetPriority(DMA1_Stream3_IRQn, 0, 0);
  HAL_NVIC_EnableIRQ(DMA1_Stream3_IRQn);
  /* DMA1_Stream4_IRQn interrupt configuration */
  HAL_NVIC_SetPriority(DMA1_Stream4_IRQn, 5, 0);
  HAL_NVIC_EnableIRQ(DMA1_Stream4_IRQn);
  /* DMA1_Stream5_IRQn interrupt configuration */
  HAL_NVIC_SetPriority(DMA1_Stream5_IRQn, 5, 0);
  HAL_NVIC_EnableIRQ(DMA1_Stream5_IRQn);

}

static void MX_GPIO_Init(void)
{
  GPIO_InitTypeDef GPIO_InitStruct = {0};

  /* GPIO Ports Clock Enable */
  __HAL_RCC_GPIOC_CLK_ENABLE();
  __HAL_RCC_GPIOH_CLK_ENABLE();
  __HAL_RCC_GPIOA_CLK_ENABLE();
  __HAL_RCC_GPIOB_CLK_ENABLE();
  __HAL_RCC_GPIOD_CLK_ENABLE();
  __HAL_RCC_GPIOE_CLK_ENABLE();

  /*Configure GPIO pin Output Level */
  HAL_GPIO_WritePin(GPIOC, GPIO_PIN_15, GPIO_PIN_RESET);

  /*Configure GPIO pin Output Level */
  HAL_GPIO_WritePin(GPIOD, GPIO_PIN_11|GPIO_PIN_12|GPIO_PIN_14|GPIO_PIN_15, GPIO_PIN_RESET);

  /*Configure GPIO pin : PC15 */
  GPIO_InitStruct.Pin = GPIO_PIN_15;
  GPIO_InitStruct.Mode = GPIO_MODE_OUTPUT_PP;
  GPIO_InitStruct.Pull = GPIO_NOPULL;
  GPIO_InitStruct.Speed = GPIO_SPEED_FREQ_LOW;
  HAL_GPIO_Init(GPIOC, &GPIO_InitStruct);

  /*Configure GPIO pins : PD11 PD12 PD14 PD15 */
  GPIO_InitStruct.Pin = GPIO_PIN_11|GPIO_PIN_12|GPIO_PIN_14|GPIO_PIN_15;
  GPIO_InitStruct.Mode = GPIO_MODE_OUTPUT_PP;
  GPIO_InitStruct.Pull = GPIO_NOPULL;
  GPIO_InitStruct.Speed = GPIO_SPEED_FREQ_LOW;
  HAL_GPIO_Init(GPIOD, &GPIO_InitStruct);

  /*Configure GPIO pin : PA8 */
  GPIO_InitStruct.Pin = GPIO_PIN_8;
  GPIO_InitStruct.Mode = GPIO_MODE_AF_PP;
  GPIO_InitStruct.Pull = GPIO_NOPULL;
  GPIO_InitStruct.Speed = GPIO_SPEED_FREQ_VERY_HIGH;
  GPIO_InitStruct.Alternate = GPIO_AF0_MCO;
  HAL_GPIO_Init(GPIOA, &GPIO_InitStruct);

}

void Error_Handler(void)
{
}

/************************ (C) COPYRIGHT STMicroelectronics *****END OF FILE****/
